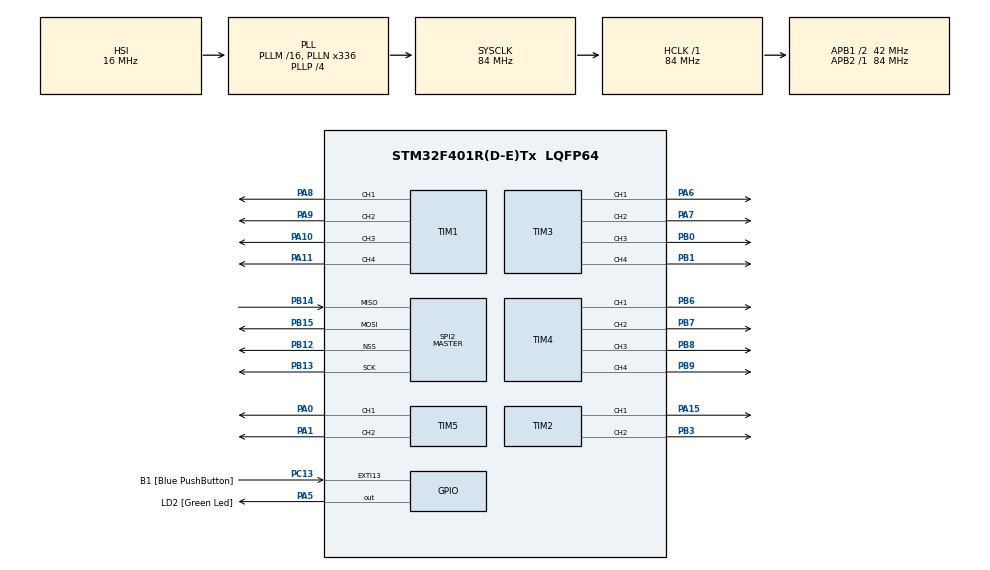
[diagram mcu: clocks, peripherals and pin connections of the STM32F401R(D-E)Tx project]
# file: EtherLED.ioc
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Mcu.Family=STM32F4
Mcu.Name=STM32F401R(D-E)Tx
Mcu.Package=LQFP64
NVIC.PriorityGroup=NVIC_PRIORITYGROUP_0
PA0-WKUP.Signal=S_TIM5_CH1
PA1.Signal=S_TIM5_CH2
PA10.Signal=S_TIM1_CH3
PA11.Signal=S_TIM1_CH4
PA13.GPIO_Label=TMS
PA13.Signal=SYS_JTMS-SWDIO
PA14.GPIO_Label=TCK
PA14.Signal=SYS_JTCK-SWCLK
PA15.Signal=S_TIM2_CH1_ETR
PA2.GPIO_Label=USART_TX
PA2.GPIO_Mode=GPIO_MODE_AF_PP
PA2.GPIO_PuPd=GPIO_NOPULL
PA2.GPIO_Speed=GPIO_SPEED_FREQ_LOW
PA2.Signal=USART2_TX
PA3.GPIO_Label=USART_RX
PA3.GPIO_Mode=GPIO_MODE_AF_PP
PA3.GPIO_PuPd=GPIO_NOPULL
PA3.GPIO_Speed=GPIO_SPEED_FREQ_LOW
PA3.Signal=USART2_RX
PA5.GPIO_Label=LD2 [Green Led]
PA5.GPIO_Mode=GPIO_MODE_OUTPUT_PP
PA5.GPIO_PuPd=GPIO_NOPULL
PA5.GPIO_Speed=GPIO_SPEED_FREQ_LOW
PA5.Signal=GPIO_Output
PA6.Signal=S_TIM3_CH1
PA7.Signal=S_TIM3_CH2
PA8.Signal=S_TIM1_CH1
PA9.Signal=S_TIM1_CH2
PB0.Signal=S_TIM3_CH3
PB1.Signal=S_TIM3_CH4
PB12.Mode=NSS_Signal_Hard_Output
PB12.Signal=SPI2_NSS
PB13.Mode=Full_Duplex_Master
PB13.Signal=SPI2_SCK
PB14.Mode=Full_Duplex_Master
PB14.Signal=SPI2_MISO
PB15.Mode=Full_Duplex_Master
PB15.Signal=SPI2_MOSI
PB3.Signal=S_TIM2_CH2
PB6.Signal=S_TIM4_CH1
PB7.Signal=S_TIM4_CH2
PB8.Signal=S_TIM4_CH3
PB9.Signal=S_TIM4_CH4
PC13-ANTI_TAMP.GPIO_Label=B1 [Blue PushButton]
PC13-ANTI_TAMP.GPIO_ModeDefaultEXTI=GPIO_MODE_EVT_RISING
PC13-ANTI_TAMP.GPIO_PuPd=GPIO_NOPULL
PC13-ANTI_TAMP.Signal=GPXTI13
PC14-OSC32_IN.Signal=RCC_OSC32_IN
PC15-OSC32_OUT.Signal=RCC_OSC32_OUT
PH0\ -\ OSC_IN.Signal=RCC_OSC_IN
PH1\ -\ OSC_OUT.Signal=RCC_OSC_OUT
ProjectManager.HeapSize=0x200
ProjectManager.StackSize=0x400
ProjectManager.TargetToolchain=SW4STM32
RCC.AHBFreq_Value=84000000
RCC.APB1CLKDivider=RCC_HCLK_DIV2
RCC.APB1Freq_Value=42000000
RCC.APB1TimFreq_Value=84000000
RCC.APB2Freq_Value=84000000
RCC.APB2TimFreq_Value=84000000
RCC.CortexFreq_Value=84000000
RCC.HCLKFreq_Value=84000000
RCC.HSE_VALUE=8000000
RCC.HSI_VALUE=16000000
RCC.LSE_VALUE=32768
RCC.PLLN=336
RCC.PLLP=RCC_PLLP_DIV4
RCC.PLLQ=7
RCC.SYSCLKFreq_VALUE=84000000
RCC.SYSCLKSource=RCC_SYSCLKSOURCE_PLLCLK
RCC.VCOOutputFreq_Value=336000000
SH.S_TIM1_CH1.0=TIM1_CH1,PWM Generation1 CH1
SH.S_TIM1_CH2.0=TIM1_CH2,PWM Generation2 CH2
SH.S_TIM1_CH3.0=TIM1_CH3,PWM Generation3 CH3
SH.S_TIM1_CH4.0=TIM1_CH4,PWM Generation4 CH4
SH.S_TIM2_CH1_ETR.0=TIM2_CH1,PWM Generation1 CH1
SH.S_TIM2_CH2.0=TIM2_CH2,PWM Generation2 CH2
SH.S_TIM3_CH1.0=TIM3_CH1,PWM Generation1 CH1
SH.S_TIM3_CH2.0=TIM3_CH2,PWM Generation2 CH2
SH.S_TIM3_CH3.0=TIM3_CH3,PWM Generation3 CH3
SH.S_TIM3_CH4.0=TIM3_CH4,PWM Generation4 CH4
SH.S_TIM4_CH1.0=TIM4_CH1,PWM Generation1 CH1
SH.S_TIM4_CH2.0=TIM4_CH2,PWM Generation2 CH2
SH.S_TIM4_CH3.0=TIM4_CH3,PWM Generation3 CH3
SH.S_TIM4_CH4.0=TIM4_CH4,PWM Generation4 CH4
SH.S_TIM5_CH1.0=TIM5_CH1,PWM Generation1 CH1
SH.S_TIM5_CH2.0=TIM5_CH2,PWM Generation2 CH2
SPI2.Mode=SPI_MODE_MASTER
SPI2.VirtualNSS=VM_NSSHARD
TIM1.Channel-PWM\ Generation2\ CH2=TIM_CHANNEL_2
TIM1.Channel-PWM\ Generation3\ CH3=TIM_CHANNEL_3
TIM1.Channel-PWM\ Generation4\ CH4=TIM_CHANNEL_4
TIM2.Channel-PWM\ Generation2\ CH2=TIM_CHANNEL_2
TIM3.Channel-PWM\ Generation2\ CH2=TIM_CHANNEL_2
TIM3.Channel-PWM\ Generation3\ CH3=TIM_CHANNEL_3
TIM3.Channel-PWM\ Generation4\ CH4=TIM_CHANNEL_4
TIM4.Channel-PWM\ Generation2\ CH2=TIM_CHANNEL_2
TIM4.Channel-PWM\ Generation3\ CH3=TIM_CHANNEL_3
TIM4.Channel-PWM\ Generation4\ CH4=TIM_CHANNEL_4
TIM5.Channel-PWM\ Generation2\ CH2=TIM_CHANNEL_2
board=NUCLEO-F401RE

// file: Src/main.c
/**
  ******************************************************************************
  * File Name          : main.c
  * Description        : Main program body
  ******************************************************************************
  *
  * COPYRIGHT(c) 2016 STMicroelectronics
  *
  * Redistribution and use in source and binary forms, with or without modification,
  * are permitted provided that the following conditions are met:
  *   1. Redistributions of source code must retain the above copyright notice,
  *      this list of conditions and the following disclaimer.
  *   2. Redistributions in binary form must reproduce the above copyright notice,
  *      this list of conditions and the following disclaimer in the documentation
  *      and/or other materials provided with the distribution.
  *   3. Neither the name of STMicroelectronics nor the names of its contributors
  *      may be used to endorse or promote products derived from this software
  *      without specific prior written permission.
  *
  * THIS SOFTWARE IS PROVIDED BY THE COPYRIGHT HOLDERS AND CONTRIBUTORS "AS IS"
  * AND ANY EXPRESS OR IMPLIED WARRANTIES, INCLUDING, BUT NOT LIMITED TO, THE
  * IMPLIED WARRANTIES OF MERCHANTABILITY AND FITNESS FOR A PARTICULAR PURPOSE ARE
  * DISCLAIMED. IN NO EVENT SHALL THE COPYRIGHT HOLDER OR CONTRIBUTORS BE LIABLE
  * FOR ANY DIRECT, INDIRECT, INCIDENTAL, SPECIAL, EXEMPLARY, OR CONSEQUENTIAL
  * DAMAGES (INCLUDING, BUT NOT LIMITED TO, PROCUREMENT OF SUBSTITUTE GOODS OR
  * SERVICES; LOSS OF USE, DATA, OR PROFITS; OR BUSINESS INTERRUPTION) HOWEVER
  * CAUSED AND ON ANY THEORY OF LIABILITY, WHETHER IN CONTRACT, STRICT LIABILITY,
  * OR TORT (INCLUDING NEGLIGENCE OR OTHERWISE) ARISING IN ANY WAY OUT OF THE USE
  * OF THIS SOFTWARE, EVEN IF ADVISED OF THE POSSIBILITY OF SUCH DAMAGE.
  *
  ******************************************************************************
  */

#include "stm32f4xx_hal.h"
#include "spi.h"
#include "tim.h"
#include "gpio.h"

/* USER CODE BEGIN Includes */
#include "wizchip_conf.h"
#include "socket.h"
#include <string.h>

int i = _WIZCHIP_;
#define SEPARATOR            "=============================================\r\n"
#define WELCOME_MSG  		 "Welcome to STM32Nucleo Ethernet configuration\r\n"
#define NETWORK_MSG  		 "Network configuration:\r\n"
#define IP_MSG 		 		 "  IP ADDRESS:  %d.%d.%d.%d\r\n"
#define NETMASK_MSG	         "  NETMASK:     %d.%d.%d.%d\r\n"
#define GW_MSG 		 		 "  GATEWAY:     %d.%d.%d.%d\r\n"
#define MAC_MSG		 		 "  MAC ADDRESS: %x:%x:%x:%x:%x:%x\r\n"
//#define GREETING_MSG 		 "Well done guys! Welcome to the IoT world. Bye!\r\n"
#define GREETING_MSG 		 "<button type=\"button\">Click on Me!</button> <img src=\"http://a816.phobos.apple.com/us/r30/Purple2/v4/c7/09/1d/c7091d0b-a28b-6928-a5e0-6daa7c650f65/mzl.knuqwzfs.png\">"

char page[] = {"HTTP/1.0 200 OK\r\nContent-Type: text/html\r\n\r\n<!DOCTYPE html><html><head><meta http-equiv=\"Content-Type\" content=\"text/html; charset=UTF-8\"> <title>1 Выбор цвета</title> <meta name=\"viewport\" content=\"width=device-width, initial-scale=1\"> <script type=\"text/javascript\" src=\"https://code.jquery.com/jquery-3.1.0.slim.min.js\"></script><style type=\"text/css\"></style> <link rel=\"stylesheet\" href=\"http://ajax.googleapis.com/ajax/libs/jqueryui/1.11.2/themes/smoothness/jquery-ui.css\"> <script src=\"https://code.jquery.com/ui/1.12.1/jquery-ui.min.js\"></script> <link rel=\"stylesheet\" href=\"css/style.css\"></link> <style>*{margin: 0; font: 12px Arial, sans-serif;}#inputColor{width: 100px;height: 50px;}/* colorpicker styles */.colorpicker{background-color: #222222; border-radius: 5px 5px 5px 5px; box-shadow: 2px 2px 2px #444444; color: #FFFFFF; font-size: 12px; width: 460px;margin: 0px auto;overflow: auto;}#picker{cursor: crosshair; float: left; margin: 10px 0 10px 10px; border: 0;}.controls{float: right; margin: 10px;}.controls > div{border: 1px solid #2F2F2F; margin-bottom: 5px; overflow: hidden; padding: 5px;}.controls label{float: left;}.controls > div input{background-color: #121212; border: 1px solid #2F2F2F; color: #DDDDDD; float: right; font-size: 13px; height: 14px; margin-left: 6px; text-align: center; text-transform: uppercase; width: 75px;}.myButton{color: #fff; width: 120px; margin: 10px 0 10px 0;border: solid 1px #999;"};
char page2[] = {"padding: 5px 0; border-radius: 3px; -moz-border-radius: 3px; -khtml-border-radius: 3px; -webkit-border-radius: 3px; background: -webkit-gradient(linear, left top, left bottom, from(#444444), to(#666666)); background: -moz-linear-gradient(top, #444444, #666666); background-image: -o-linear-gradient(top,rgb(68,68,68), rgb(102,102,102)); filter: progid:DXImageTransform.Microsoft.gradient(startColorstr='#444444', endColorstr='#666666');}.myButton:hover{font-weight: bold; background: -webkit-gradient(linear, left top, left bottom, from(#666666), to(#444444)); background: -moz-linear-gradient(top, #666666, #444444); background-image: -o-linear-gradient(top,rgb(102,102,102), rgb(68,68,68)); rgb(102,102,102) filter: progid:DXImageTransform.Microsoft.gradient(startColorstr='#666666', endColorstr='#444444'); box-shadow: 1px 1px 15px -2px rgba(255,255,255,0.75);}.active{font-weight: bold; background: -webkit-gradient(linear, left top, left bottom, from(#666666), to(#444444)); background: -moz-linear-gradient(top, #666666, #444444); background-image: -o-linear-gradient(top,rgb(102,102,102), rgb(68,68,68)); rgb(102,102,102) filter: progid:DXImageTransform.Microsoft.gradient(startColorstr='#666666', endColorstr='#444444'); box-shadow: 1px 1px 15px -2px rgba(255,255,255,0.75);}#RGB{margin-bottom: 45px;}.slaider{clear: both;padding: 10px;font-size: 13px;}.slaider input{margin: 10px 15px;width: 315px;}/*input[type=range]{-webkit-appearance: none;border-radius: 8px;"};
char page3[] = {"height: 7px;border: 1px solid #bdc3c7;background-color: #fff;}*/.out{position: relative;top: -7px;}.clear{clear: both;}@media only all and (max-width: 471px){.colorpicker{width: 320px;}.controls{float: left;}.controls > div{float: left;margin-right: 17px;}.controls > div:nth-child(3){margin-right: 0px;}.controls > div input{width: 60px;}#RGB{margin: 10px auto;float: none;width: 100px;}#function{float: right;}.slaider input{margin: 10px;width: 185px;}}</style></head> <body><div class=\"colorpicker\"><canvas id=\"picker\" var=\"1\" width=\"300\" height=\"300\"></canvas><div class=\"controls\"><div><label>R</label> <input type=\"text\" id=\"rVal\"></div><div><label>G</label> <input type=\"text\" id=\"gVal\"></div><div><label>B</label> <input type=\"text\" id=\"bVal\"></div><div id=\"RGB\"><label>RGB</label> <input type=\"text\" id=\"rgbVal\"></div><p id=\"function\"><button onclick='function1()' class=\"myButton\">Кнопка</button></p><p><button onclick='switchOf()' class=\"myButton\" id=\"switch\">switch off</button></p></div><div class=\"slaider\"><form class=\"range-examples\"><label for=\"param1\" class=\"out\">Параметр 1</label><input type=\"range\" min=\"0\" max=\"250\" value=\"50\" id=\"param1\" step=\"1\" oninput=\"outputUpdate(value)\"><output for=\"param1\" id=\"vol\" class=\"out\">50</output><div class=\"clear\"></div><label for=\"param2\" class=\"out\">Параметр 2</label><input type=\"range\" min=\"0\" max=\"250\" value=\"70\" id=\"param2\""};
char page4[] = {"step=\"1\" oninput=\"outputUpdate2(value)\"><output for=\"param2\" id=\"vol2\" class=\"out\">70</output></form><script>function outputUpdate(vol){document.querySelector('#vol').value=vol;}function outputUpdate2(vol){document.querySelector('#vol2').value=vol;}$(function(){$('#switch').on('click', function(){console.log( $(this).text() );$(this).toggleClass('active'); var q=$(this).text();(q=='switch off') ? ($(this).text('switch on') ) : ($(this).text('switch off'));});});</script></div></div><script>var red=0; var green=0; var blue=0; var brColor=255; var brWhite=255; function GetArduinoIO(){nocache=\"&nocache=\" + Math.random() * 1000000;var request=new XMLHttpRequest();request.onreadystatechange=function(){if (this.readyState==4){if (this.status==200){if (this.responseXML !=null){/* XML file received - contains LED brightness and colour */var count;/* LED 1 */if (this.responseXML.getElementsByTagName('LED')[0].childNodes[0].nodeValue===\"checked\"){document.LED_form.LED1.checked=true;}else{document.LED_form.LED1.checked=false;}/* LED 2 */if (this.responseXML.getElementsByTagName('LED')[1].childNodes[0].nodeValue===\"checked\"){document.LED_form.LED2.checked=true;}else{document.LED_form.LED2.checked=false;}}}}}/* send HTTP GET request with LEDs to switch on/off if any*//*request.open(\"GET\", \"ajax_inputs\" + red + green + blue + brColor + brWhite + nocache, true);*/ request.open(\"SET\", \"dig_outputs_\" + \"r\" + red +\"g\" + green + \"b\" + blue + \"brC\""};
char page5[] = {"+ brColor + \"brW\" + brWhite + nocache, true); request.send(null); console.log(\"!\"); /*setTimeout('GetArduinoIO()', 1000);*/}$(function(){var bCanPreview=true; /* can preview */ /* create canvas and context objects */ var canvas=document.getElementById('picker'); var ctx=canvas.getContext('2d'); /* drawing active image */ var image=new Image(); image.onload=function (){ctx.drawImage(image, 0, 0, image.width, image.height); /* draw the image on the canvas */}$('#picker').mousemove(function(e){/* mouse move handler */ if (bCanPreview){/* get coordinates of current position */ var canvasOffset=$(canvas).offset(); var canvasX=Math.floor(e.pageX - canvasOffset.left); var canvasY=Math.floor(e.pageY - canvasOffset.top); /* get current pixel */ var imageData=ctx.getImageData(canvasX, canvasY, 1, 1); var pixel=imageData.data; /* update preview color */ var pixelColor=\"rgb(\"+pixel[0]+\", \"+pixel[1]+\", \"+pixel[2]+\")\"; $('.preview').css('backgroundColor', pixelColor); /* update controls */ $('#rVal').val(pixel[0]); $('#gVal').val(pixel[1]); $('#bVal').val(pixel[2]); if(red !=pixel[0] || green !=pixel[1] || blue !=pixel[2]){red=pixel[0]; green=pixel[1]; blue=pixel[2];if(f)GetArduinoIO();}console.log(pixel[0]); $('#rgbVal').val(pixel[0]+','+pixel[1]+','+pixel[2]); var dColor=pixel[2] + 256 * pixel[1] + 65536 * pixel[0]; $('#hexVal').val('#' + ('0000' + dColor.toString(16)).substr(-6));}});image.crossOrigin=\"anonymous\";image.src=\"https://dl.dropboxusercontent.com/s/rm54qmnq9zaxgq4/colorwheel5.png?dl=0\";"};
char page6[] = {"$('#picker').click(function(e){/* click event handler */ bCanPreview=!bCanPreview;}); $('.preview').click(function(e){/* preview click */ $('.colorpicker').fadeToggle(\"slow\", \"linear\"); bCanPreview=true;});});</script> </body></html>"};

#define CONN_ESTABLISHED_MSG "Connection established with remote IP: %d.%d.%d.%d:%d\r\n"
#define SENT_MESSAGE_MSG	 "Sent a message. Let's close the socket!\r\n"
#define WRONG_RETVAL_MSG	 "Something went wrong; return value: %d\r\n"
#define WRONG_STATUS_MSG	 "Something went wrong; STATUS: %d\r\n"
#define LISTEN_ERR_MSG		 "LISTEN Error!\r\n"
/* USER CODE END Includes */

/* USER CODE BEGIN PV */
/* Private variables ---------------------------------------------------------*/
char msg[60];
int tColor[4], tSwitch[2];

/* USER CODE END PV */

void SystemClock_Config(void);
void Error_Handler(void);

/* USER CODE BEGIN PFP */
/* Private function prototypes -----------------------------------------------*/

/* USER CODE END PFP */

/* USER CODE BEGIN 0 */
void cs_sel() {
	HAL_GPIO_WritePin(GPIOB, GPIO_PIN_12, GPIO_PIN_RESET); //CS LOW
}

void cs_desel() {
	HAL_GPIO_WritePin(GPIOB, GPIO_PIN_12, GPIO_PIN_SET); //CS HIGH
}

uint8_t spi_rb(void) {
	uint8_t rbuf;
	HAL_SPI_Receive(&hspi2, &rbuf, 1, 0xFFFFFFFF);
	return rbuf;
}

void spi_wb(uint8_t b) {
	HAL_SPI_Transmit(&hspi2, &b, 1, 0xFFFFFFFF);
}
/* USER CODE END 0 */

void set_color(short channel, int red, int green, int blue, int white) {
	//TODO!! FIX GAMMA

  int gamma[] = {0, 1, 2, 4, 7, 11, 17, 24,
                 32, 42, 53, 65, 79, 94, 111, 129,
                 148, 169, 192, 216, 242, 270, 299, 330,
                 362, 396, 432, 469, 508, 549, 591, 635,
            /*4*/681, 729, 779, 830, 883, 938, 995, 1053,
				 1113, 1175, 1239, 1305, 1373, 1443, 1514, 1587,
				 1663, 1740, 1819, 1900, 1983, 2068, 2155, 2243,
				 2334, 2427, 2521, 2618, 2717, 2817, 2920, 3024,
			/*8*/3131, 3240, 3350, 3463, 3578, 3694, 3813, 3934,
				 4057, 4182, 4309, 4438, 4570, 4703, 4838, 4976, // replace gamma!
			     5115, 5257, 5401, 5547, 5695, 5845, 5998, 6152,
				 6309, 6468, 6629, 6792, 6957, 7124, 7294, 7466,
		   /*12*/7640, 7816, 7994, 8175, 8358, 8543, 8730, 8919,
		         9111, 9305, 9501, 9699, 9900, 10102, 10307, 10515,
				 10724, 10936, 11150, 11366, 11585, 11806, 12029, 12254,
				 12482, 12712, 12944, 13179, 13416, 13655, 13896, 14140,
		   /*16*/14386, 14635, 14885, 15138, 15394, 15652, 15912, 16174,
				 16439, 16706, 16975, 17247, 17521, 17798, 18077, 18358,
				 18642, 18928, 19216, 19507, 19800, 20095, 20393, 20694,
				 20996, 21301, 21609, 21919, 22231, 22546, 22863, 23182,
				 23504, 23829, 24156, 24485, 24817, 25151, 25487, 25826,
				 26168, 26512, 26858, 27207, 27558, 27912, 28268, 28627,
				 28988, 29351, 29717, 30086, 30457, 30830, 31206, 31585,
				 31966, 32349, 32735, 33124, 33514, 33908, 34304, 34702,
				 35103, 35507, 35913, 36321, 36732, 37146, 37562, 37981,
				 38402, 38825, 39252, 39680, 40112, 40546, 40982, 41421,
		 		 41862, 42306, 42753, 43202, 43654, 44108, 44565, 45025,
	 			 45487, 45951, 46418, 46888, 47360, 47835, 48313, 48793,
				 49275, 49761, 50249, 50739, 51232, 51728, 52226, 52727,
				 53230, 53736, 54245, 54756, 55270, 55787, 56306, 56828,
				 57352, 57879, 58409, 58941, 59476, 60014, 60554, 61097,
				 61642, 62190, 62741, 63295, 63851, 64410, 64971, 65535};

  if(red + green + blue > 0) {
	  tColor[2] = (gamma[blue>255?255:blue]+1)/64; //D8 - blue
	  tColor[0] = (gamma[red>255?255:red]+1)/64; //D2 - red
	  tColor[1] = (gamma[green>255?255:green]+1)/64; //D3 - green
  }
  if(white > 0)
	  tColor[3] = (gamma[white>255?255:white]+1)/64; //D7 - white

	//TIM1: PA8_, PA9_, PA10_, PA11
	//TIM2: PA15, PB3_
	//TIM3: PA6_, PA7_, PB0, PB1
	//TIM4: PB6!, PB7, PB8_, PB9_
	//TIM5: PA0, PA1

	//PA0, PA1, PA6, PA7, PA11, PA15, PB0, PB1, PB6, PB7, PB8, PB9

	//channel 0: PA8, PA9, PA10, PB3
	//channel 1: PA6, PA7, PB8, PB9

  switch(channel){
    case 0:
	  TIM1->CCR1 = (gamma[white>255?255:white]+1)/64; //D7 - white
	  TIM1->CCR2 = (gamma[blue>255?255:blue]+1)/64; //D8 - blue
	  TIM1->CCR3 = (gamma[red>255?255:red]+1)/64; //D2 - red
	  TIM2->CCR2 = (gamma[green>255?255:green]+1)/64; //D3 - green
	  break;
    case 1:
  	  TIM4->CCR4 = (gamma[blue>255?255:blue]+1)/64; //D10 - red
	  TIM3->CCR2 = (gamma[white>255?255:white]+1)/64; //D11 - green
	  TIM3->CCR1 = (gamma[green>255?255:green]+1)/64; //D12 - blue
	  TIM4->CCR3 = (gamma[red>255?255:red]+1)/64; //D14 - white
	  break;
  }
}

void checkSwitch() {
	int t[2] = {1, 1};
	int tt[2] = {1, 1};

	if (GPIOC->IDR & 1)
		t[0] = 0;
	if (GPIOC->IDR & 2)
		t[1] = 0;

	int k1 = 0, k2 = 0;
	for(int i = 0; i < 100; i++) {
		if (GPIOC->IDR & 1)
			tt[0] = 0;
		if (GPIOC->IDR & 2)
			tt[1] = 0;

		if(tSwitch[0] != tt[0])
			k1++;
		if(tSwitch[1] != tt[1])
			k2++;
	}
	if(k1 > 99) {
		tSwitch[0] = tSwitch[0]?0:1;
		if(TIM1->CCR1)
			TIM1->CCR1 = 0;
		else
			TIM1->CCR1 = tColor[3];
	}

	if(k2 > 99) {
		tSwitch[1] = tSwitch[1]?0:1;
		if(TIM1->CCR2 || TIM1->CCR3 || TIM2->CCR2) {
			TIM1->CCR2 = 0;
			TIM1->CCR3 = 0;
			TIM2->CCR2 = 0;
		}
		else {
			TIM1->CCR2 = tColor[2];
			TIM1->CCR3 = tColor[0];
			TIM2->CCR2 = tColor[1];
		}
	}
}

int main(void)
{

  /* MCU Configuration----------------------------------------------------------*/

  /* Reset of all peripherals, Initializes the Flash interface and the Systick. */
  HAL_Init();

  /* Configure the system clock */
  SystemClock_Config();

  /* Initialize all configured peripherals */
  MX_GPIO_Init();
  MX_SPI2_Init();
  MX_TIM1_Init();
  MX_TIM2_Init();
  MX_TIM3_Init();
  MX_TIM4_Init();
  MX_TIM5_Init();

  /* USER CODE BEGIN 2 */
  uint8_t retVal, sockStatus;
  int16_t rcvLen;
  uint8_t rcvBuf[20], bufSize[] = {2, 2, 2, 2};

  reg_wizchip_cs_cbfunc(cs_sel, cs_desel);
  reg_wizchip_spi_cbfunc(spi_rb, spi_wb);

  wizchip_init(bufSize, bufSize);
  wiz_NetInfo netInfo = { .mac 	= {0x00, 0x08, 0xdc, 0xab, 0xcd, 0x13},	// Mac address
                          .ip 	= {192, 168, 59, 137},					// IP address
                          .sn 	= {255, 255, 255, 0},					// Subnet mask
                          .gw 	= {192, 168, 59, 30}};					// Gateway address
  wizchip_setnetinfo(&netInfo);
  wizchip_getnetinfo(&netInfo);

  char buffer[256];

  HAL_TIM_PWM_Start(&htim1, 1);
  HAL_TIM_PWM_Start(&htim1, 2);
  HAL_TIM_PWM_Start(&htim1, 3);
  HAL_TIM_PWM_Start(&htim2, 1);
  HAL_TIM_PWM_Start(&htim3, 1);
  HAL_TIM_PWM_Start(&htim3, 2);
  HAL_TIM_PWM_Start(&htim4, 3);
  HAL_TIM_PWM_Start(&htim4, 4);

  TIM1->CCER = 0x1111;
  TIM1->ARR = 1024;
  TIM2->CCER = 0x1111;
  TIM2->ARR = 1024;
  TIM3->CCER = 0x1111;
  TIM3->ARR = 1024;
  TIM4->CCER = 0x1111;
  TIM4->ARR = 1024;

  checkSwitch();
  int del = 500;
  for(int i = 0; i < 4; i++)
	  set_color(i, 255, 0, 0, 0);
  HAL_Delay(del);
  for(int i = 0; i < 4; i++)
	  set_color(i, 0, 255, 0, 0);
  HAL_Delay(del);
  for(int i = 0; i < 4; i++)
	  set_color(i, 0, 0, 255, 0);
  HAL_Delay(del);
  for(int i = 0; i < 4; i++)
	  set_color(i, 0, 0, 0, 255);
  HAL_Delay(del);
  for(int i = 0; i < 4; i++)
  	  set_color(i, 0, 0, 0, 0);

  while(1) {
    socket(0, Sn_MR_TCP, 80, 0);
	if(listen(0) == SOCK_OK) {
	  while(getSn_SR(0) == SOCK_LISTEN) {
  	    HAL_Delay(100);
  	    checkSwitch();
	  }
	  if(getSn_SR(0) == SOCK_ESTABLISHED) {
		uint8_t remoteIP[4];
		uint16_t remotePort;
		/* Retrieving remote peer IP and port number */
		getsockopt(0, SO_DESTIP, remoteIP);
		getsockopt(0, SO_DESTPORT, (uint8_t*)&remotePort);
		while(getSn_SR(0) == SOCK_ESTABLISHED) {
		  int n = recv(0, buffer, 250);

		  int i = 0;
		  while(i < n){
			short chan = 0;
			int r = 0, g = 0, b = 0, w = 0;

			while((buffer[i]>'9'||buffer[i]<'0') && i<n) //skip until number
		      i++;

			chan = buffer[i]-48;

			while((buffer[i+1]>'9'||buffer[i+1]<'0') && i<n) //skip until number
		      i++;
		    i++;

		    while((buffer[i]<='9'&&buffer[i]>='0')&&i<n){//get red
			  r *= 10;
		      r += buffer[i]-48;
		      i++;
		    }
			while((buffer[i+1]>'9'||buffer[i+1]<'0') && i<n) //skip until number
			  i++;
			i++;

			while((buffer[i]<='9'&&buffer[i]>='0')&&i<n){//get green
			  g *= 10;
			  g += buffer[i]-48;
			  i++;
			}
			while((buffer[i+1]>'9'||buffer[i+1]<'0') && i<n) //skip until number
			  i++;
			i++;

			while((buffer[i]<='9'&&buffer[i]>='0')&&i<n){//get blue
			  b *= 10;
			  b += buffer[i]-48;
			  i++;
			}
			while((buffer[i+1]>'9'||buffer[i+1]<'0') && i<n) //skip until number
			  i++;
			i++;

			while((buffer[i]<='9'&&buffer[i]>='0')&&i<n){//get white
			  w *= 10;
			  w += buffer[i]-48;
			  i++;
			}
			//TIM1->CCER &= 0xEEEE;
			//TIM2->CCER &= 0xEEEE;
			set_color(chan, r, g, b, w);
			//TIM1->CCER = 0x1111;
			//TIM2->CCER = 0x1111;
		  }

		  send(0, buffer, n);
		}
	  }
	}
	close(0);
  }
}

/** System Clock Configuration
*/
void SystemClock_Config(void)
{

  RCC_OscInitTypeDef RCC_OscInitStruct;
  RCC_ClkInitTypeDef RCC_ClkInitStruct;

  __HAL_RCC_PWR_CLK_ENABLE();

  __HAL_PWR_VOLTAGESCALING_CONFIG(PWR_REGULATOR_VOLTAGE_SCALE2);

  RCC_OscInitStruct.OscillatorType = RCC_OSCILLATORTYPE_HSI;
  RCC_OscInitStruct.HSIState = RCC_HSI_ON;
  RCC_OscInitStruct.HSICalibrationValue = 16;
  RCC_OscInitStruct.PLL.PLLState = RCC_PLL_ON;
  RCC_OscInitStruct.PLL.PLLSource = RCC_PLLSOURCE_HSI;
  RCC_OscInitStruct.PLL.PLLM = 16;
  RCC_OscInitStruct.PLL.PLLN = 336;
  RCC_OscInitStruct.PLL.PLLP = RCC_PLLP_DIV4;
  RCC_OscInitStruct.PLL.PLLQ = 7;
  if (HAL_RCC_OscConfig(&RCC_OscInitStruct) != HAL_OK)
  {
    Error_Handler();
  }

  RCC_ClkInitStruct.ClockType = RCC_CLOCKTYPE_HCLK|RCC_CLOCKTYPE_SYSCLK
                              |RCC_CLOCKTYPE_PCLK1|RCC_CLOCKTYPE_PCLK2;
  RCC_ClkInitStruct.SYSCLKSource = RCC_SYSCLKSOURCE_PLLCLK;
  RCC_ClkInitStruct.AHBCLKDivider = RCC_SYSCLK_DIV1;
  RCC_ClkInitStruct.APB1CLKDivider = RCC_HCLK_DIV2;
  RCC_ClkInitStruct.APB2CLKDivider = RCC_HCLK_DIV1;
  if (HAL_RCC_ClockConfig(&RCC_ClkInitStruct, FLASH_LATENCY_2) != HAL_OK)
  {
    Error_Handler();
  }

  HAL_SYSTICK_Config(HAL_RCC_GetHCLKFreq()/1000);

  HAL_SYSTICK_CLKSourceConfig(SYSTICK_CLKSOURCE_HCLK);

  /* SysTick_IRQn interrupt configuration */
  HAL_NVIC_SetPriority(SysTick_IRQn, 0, 0);
}

void Error_Handler(void)
{
}

/************************ (C) COPYRIGHT STMicroelectronics *****END OF FILE****/
